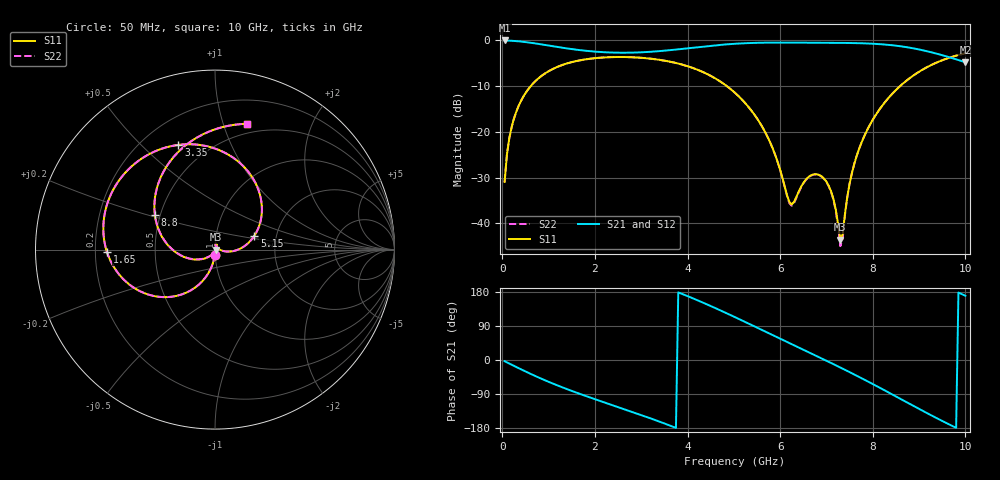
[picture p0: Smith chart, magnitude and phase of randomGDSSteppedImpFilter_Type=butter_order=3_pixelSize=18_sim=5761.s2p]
! freq	dB(S11)	phase(S11)	dB(S12)	phase(S12)
!  dB(S21)	phase(S21)	dB(S22)	phase(S22)
!S-par simulation data
#  GHz  S  DB  R 50
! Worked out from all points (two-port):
!   200 points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, 50 MHz to 10 GHz, reference 50 ohm
!   highest |S21| = -0.01 dB at 50 MHz (marker M1); lowest = -4.8 dB at 10 GHz (marker M2)
!   |S21| within 3 dB of the highest: start of sweep to 9.421 GHz
!   lowest |S11| = -43.6 dB at 7.3 GHz (marker M3), VSWR 1.01, Z = 50.7 - j0.113 ohm
!   |S11| at or under -10 dB: start of sweep to 613.5 MHz; 4.85 GHz to 8.588 GHz (3.737 GHz wide, 55.6 % of centre)
!   |S22| runs from -45.0 to -2.8 dB; largest |S21 - S12| = 0
!   S11 on the Smith chart (normalised r, x): 50 MHz: 1.00, -0.06; 1.65 GHz: 0.25, -0.01; 3.35 GHz: 0.35, +0.65; 5.15 GHz: 1.54, +0.25; 8.8 GHz: 0.47, +0.21; 10 GHz: 0.41, +1.20
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0.05  -30.94 -93.2  -0.01 -3.1  -0.01 -3.1  -30.94 -93.2
0.2  -19.03 -102.9  -0.08 -12.3  -0.08 -12.3  -19.03 -102.9
0.45  -12.36 -117.9  -0.30 -27.3  -0.30 -27.3  -12.36 -117.9
1  -6.73 -148.1  -1.12 -57.6  -1.12 -57.6  -6.73 -148.1
1.65  -4.40 -178.8  -2.09 -88.3  -2.09 -88.3  -4.40 -178.9
1.75  -4.22 176.8  -2.21 -92.7  -2.21 -92.7  -4.22 176.8
3.35  -4.18 109.3  -2.37 -160.6  -2.37 -160.6  -4.18 109.3
3.4  -4.25 107.1  -2.33 -162.9  -2.33 -162.9  -4.25 107.1
4.25  -6.55 66.6  -1.44 155.8  -1.44 155.8  -6.55 66.6
5.05  -11.69 24.7  -0.71 111.6  -0.71 111.6  -11.69 24.6
5.15  -12.66 19.4  -0.66 105.9  -0.66 105.9  -12.66 19.4
5.75  -21.54 -7.4  -0.48 71.0  -0.48 71.0  -21.55 -7.6
6.25  -35.85 45.4  -0.48 41.9  -0.48 41.9  -36.14 45.6
6.7  -29.34 82.9  -0.50 15.7  -0.50 15.7  -29.41 84.0
7.1  -33.01 58.2  -0.52 -7.8  -0.52 -7.8  -33.15 60.4
7.3  -43.56 -9.7  -0.54 -19.8  -0.54 -19.8  -44.98 -8.0
7.5  -31.29 -115.4  -0.56 -32.0  -0.56 -32.0  -31.32 -117.8
7.65  -25.32 -130.9  -0.59 -41.3  -0.59 -41.3  -25.32 -132.2
8.35  -12.45 179.9  -0.98 -86.2  -0.98 -86.2  -12.44 179.5
8.8  -8.23 149.9  -1.59 -115.9  -1.59 -115.9  -8.22 149.7
9.35  -4.97 114.3  -2.81 -151.5  -2.81 -151.5  -4.96 114.2
10  -2.81 75.6  -4.78 169.4  -4.78 169.4  -2.81 75.5
